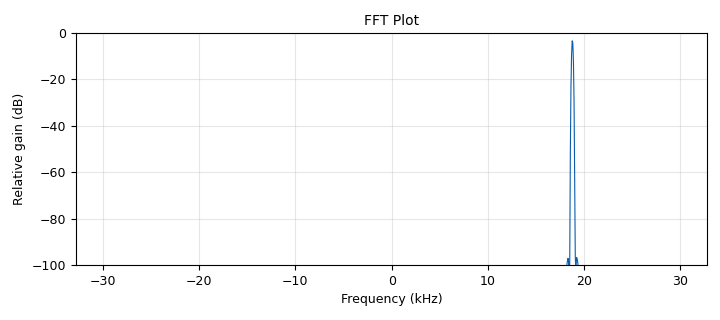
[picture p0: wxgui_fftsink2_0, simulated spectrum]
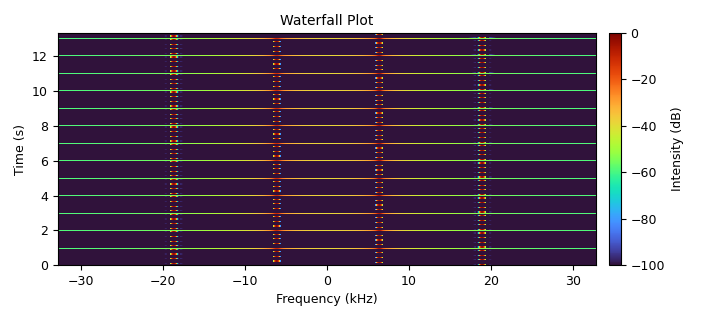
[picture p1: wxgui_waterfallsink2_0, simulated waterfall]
<?xml version='1.0' encoding='utf-8'?>
<?grc format='1' created='3.7.8'?>
<flow_graph>
<block>
<key>options</key>
<param><key>id</key><value>top_block</value></param>
<param><key>category</key><value>Custom</value></param>
<param><key>generate_options</key><value>wx_gui</value></param>
</block>
<block>
<key>variable</key>
<param><key>id</key><value>interp</value></param>
<param><key>value</key><value>1024*4</value></param>
</block>
<block>
<key>variable</key>
<param><key>id</key><value>samp_rate</value></param>
<param><key>value</key><value>2**16</value></param>
</block>
<block>
<key>blocks_complex_to_float</key>
<param><key>id</key><value>blocks_complex_to_float_0</value></param>
</block>
<block>
<key>blocks_interleave</key>
<param><key>id</key><value>blocks_interleave_0</value></param>
<param><key>type</key><value>float</value></param>
</block>
<block>
<key>blocks_throttle</key>
<param><key>id</key><value>blocks_throttle_0</value></param>
<param><key>samples_per_second</key><value>samp_rate</value></param>
<param><key>type</key><value>complex</value></param>
</block>
<block>
<key>blocks_vco_c</key>
<param><key>id</key><value>blocks_vco_c_0</value></param>
<param><key>amplitude</key><value>1</value></param>
<param><key>samp_rate</key><value>samp_rate</value></param>
<param><key>sensitivity</key><value>samp_rate*0.9</value></param>
</block>
<block>
<key>blocks_vector_source_x</key>
<param><key>id</key><value>blocks_vector_source_x_0</value></param>
<param><key>type</key><value>float</value></param>
<param><key>repeat</key><value>True</value></param>
<param><key>vector</key><value>[2]*interp+[-2]*interp+[0.333*2]*interp+[-0.333*2]*interp</value></param>
</block>
<block>
<key>ha5kfu_execproc_sink_f</key>
<param><key>id</key><value>ha5kfu_execproc_sink_f_0</value></param>
<param><key>commandline</key><value>csdr fmdemod_quadri_cf | csdr dsb_fc | csdr fir_decimate_cc 40 | csdr timing_recovery_cc GARDNER 100 0.5 2 --add_q | CSDR_FIXED_BUFSIZE=64 csdr realpart_cf | CSDR_FIXED_BUFSIZE=64 csdr gain_ff 2.5 | CSDR_FIXED_BUFSIZE=64 csdr generic_slicer_f_u8 4 &gt; /s/mfsksymbols</value></param>
</block>
<block>
<key>ha5kfu_execproc_xx</key>
<param><key>id</key><value>ha5kfu_execproc_xx_0</value></param>
<param><key>commandline</key><value>csdr fmdemod_quadri_cf | csdr dsb_fc | csdr bandpass_fir_fft_cc -0.1 0.1 0.001 | csdr timing_recovery_cc GARDNER 1024 0.5 2 --add_q | csdr realpart_cf | csdr generic_slicer_f_u8 4 &gt; /s/sliced</value></param>
<param><key>_enabled</key><value>0</value></param>
<param><key>type</key><value>cc</value></param>
</block>
<block>
<key>wxgui_fftsink2</key>
<param><key>id</key><value>wxgui_fftsink2_0</value></param>
<param><key>avg_alpha</key><value>0</value></param>
<param><key>average</key><value>False</value></param>
<param><key>baseband_freq</key><value>0</value></param>
<param><key>fft_size</key><value>1024</value></param>
<param><key>freqvar</key><value>None</value></param>
<param><key>peak_hold</key><value>False</value></param>
<param><key>ref_level</key><value>0</value></param>
<param><key>ref_scale</key><value>2.0</value></param>
<param><key>fft_rate</key><value>15</value></param>
<param><key>samp_rate</key><value>samp_rate</value></param>
<param><key>title</key><value>FFT Plot</value></param>
<param><key>type</key><value>complex</value></param>
<param><key>win</key><value>None</value></param>
<param><key>y_divs</key><value>10</value></param>
<param><key>y_per_div</key><value>10</value></param>
</block>
<block>
<key>wxgui_scopesink2</key>
<param><key>id</key><value>wxgui_scopesink2_0</value></param>
<param><key>ac_couple</key><value>False</value></param>
<param><key>_enabled</key><value>0</value></param>
<param><key>num_inputs</key><value>1</value></param>
<param><key>samp_rate</key><value>samp_rate</value></param>
<param><key>t_scale</key><value>0</value></param>
<param><key>title</key><value>Scope Plot</value></param>
<param><key>trig_mode</key><value>wxgui.TRIG_MODE_AUTO</value></param>
<param><key>type</key><value>complex</value></param>
<param><key>v_offset</key><value>0</value></param>
<param><key>v_scale</key><value>0</value></param>
<param><key>xy_mode</key><value>False</value></param>
<param><key>y_axis_label</key><value>Counts</value></param>
</block>
<block>
<key>wxgui_waterfallsink2</key>
<param><key>id</key><value>wxgui_waterfallsink2_0</value></param>
<param><key>avg_alpha</key><value>0</value></param>
<param><key>average</key><value>False</value></param>
<param><key>baseband_freq</key><value>0</value></param>
<param><key>dynamic_range</key><value>100</value></param>
<param><key>fft_rate</key><value>15</value></param>
<param><key>fft_size</key><value>512</value></param>
<param><key>freqvar</key><value>None</value></param>
<param><key>ref_scale</key><value>2.0</value></param>
<param><key>ref_level</key><value>0</value></param>
<param><key>samp_rate</key><value>samp_rate</value></param>
<param><key>title</key><value>Waterfall Plot</value></param>
<param><key>type</key><value>complex</value></param>
<param><key>win</key><value>None</value></param>
</block>
<connection><source_block_id>blocks_complex_to_float_0</source_block_id><sink_block_id>blocks_interleave_0</sink_block_id><source_key>1</source_key><sink_key>1</sink_key></connection>
<connection><source_block_id>blocks_complex_to_float_0</source_block_id><sink_block_id>blocks_interleave_0</sink_block_id><source_key>0</source_key><sink_key>0</sink_key></connection>
<connection><source_block_id>blocks_interleave_0</source_block_id><sink_block_id>ha5kfu_execproc_sink_f_0</sink_block_id><source_key>0</source_key><sink_key>0</sink_key></connection>
<connection><source_block_id>blocks_throttle_0</source_block_id><sink_block_id>blocks_complex_to_float_0</sink_block_id><source_key>0</source_key><sink_key>0</sink_key></connection>
<connection><source_block_id>blocks_throttle_0</source_block_id><sink_block_id>ha5kfu_execproc_xx_0</sink_block_id><source_key>0</source_key><sink_key>0</sink_key></connection>
<connection><source_block_id>blocks_throttle_0</source_block_id><sink_block_id>wxgui_fftsink2_0</sink_block_id><source_key>0</source_key><sink_key>0</sink_key></connection>
<connection><source_block_id>blocks_throttle_0</source_block_id><sink_block_id>wxgui_waterfallsink2_0</sink_block_id><source_key>0</source_key><sink_key>0</sink_key></connection>
<connection><source_block_id>blocks_vco_c_0</source_block_id><sink_block_id>blocks_throttle_0</sink_block_id><source_key>0</source_key><sink_key>0</sink_key></connection>
<connection><source_block_id>blocks_vector_source_x_0</source_block_id><sink_block_id>blocks_vco_c_0</sink_block_id><source_key>0</source_key><sink_key>0</sink_key></connection>
<connection><source_block_id>ha5kfu_execproc_xx_0</source_block_id><sink_block_id>wxgui_scopesink2_0</sink_block_id><source_key>0</source_key><sink_key>0</sink_key></connection>
</flow_graph>
